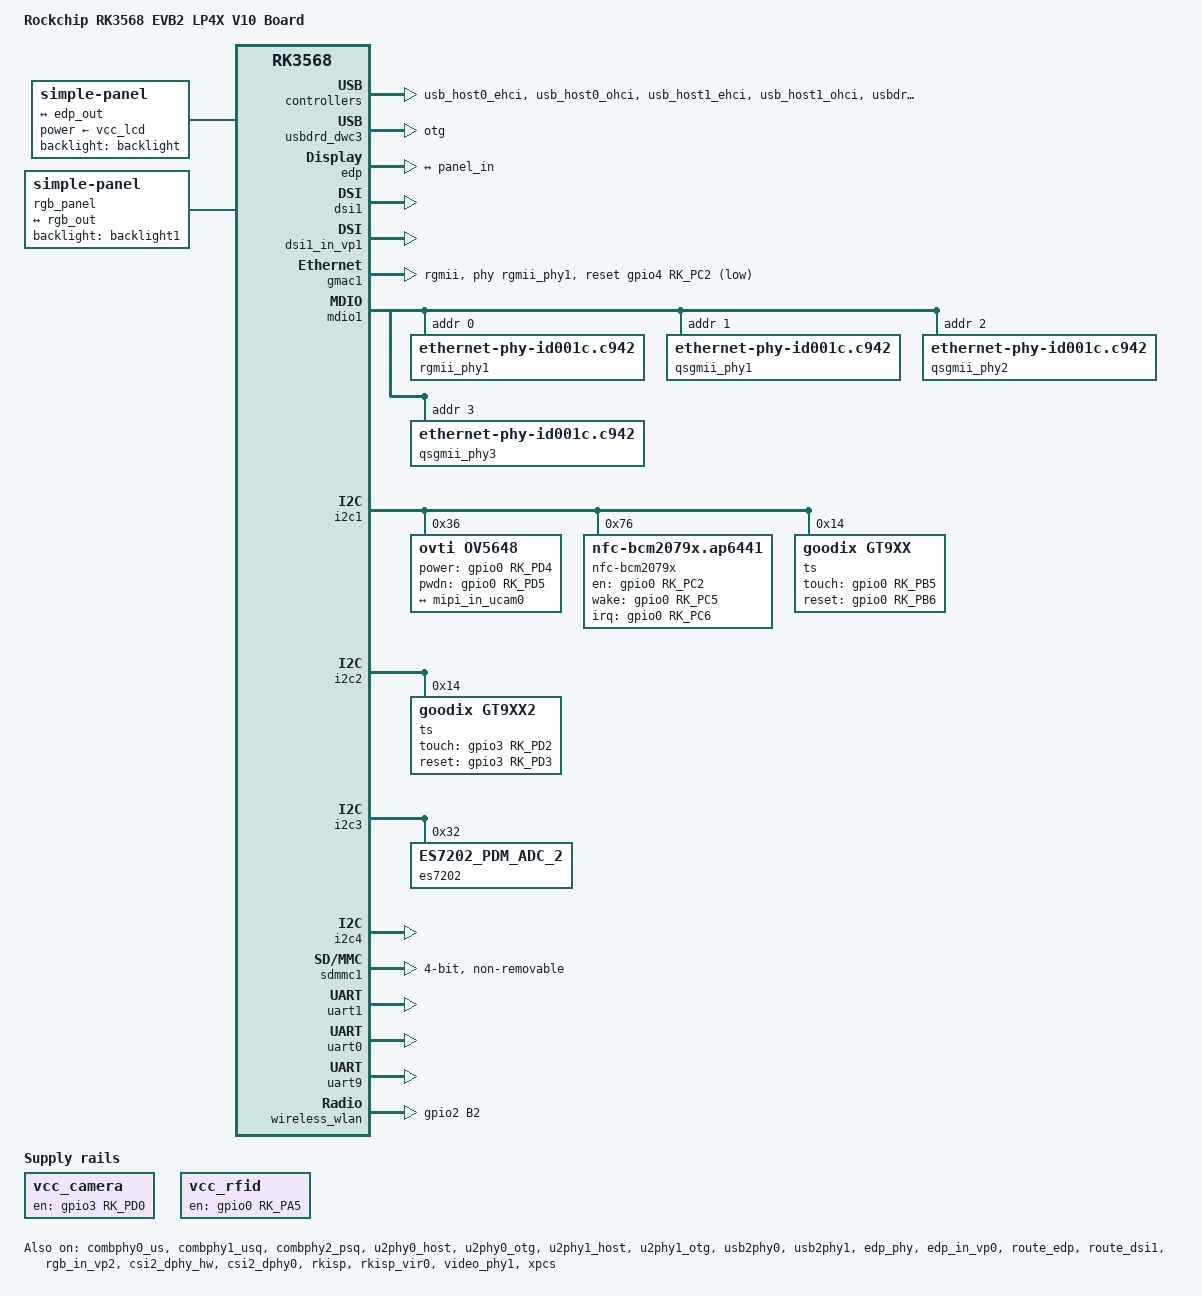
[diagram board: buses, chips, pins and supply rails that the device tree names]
// SPDX-License-Identifier: (GPL-2.0+ OR MIT)
/*
 * Copyright (c) 2020 Rockchip Electronics Co., Ltd.
 *
 */

/dts-v1/;

#include <dt-bindings/gpio/gpio.h>
#include <dt-bindings/pinctrl/rockchip.h>
#include "rk3568.dtsi"
#include "rk3568-evb-r98.dtsi"//rocky
#include "rk3568-android.dtsi"//rocky
//#include "lcd/lcd-dsi1-JJ101I008-A6-A5"
#include "lcd/lcd-dsi1-JL101-CC1001-27J.dtsi"

/ {
	model = "Rockchip RK3568 EVB2 LP4X V10 Board";
	compatible = "rockchip,rk3568-evb2-lp4x-v10", "rockchip,rk3568";
	panel: panel {
		compatible = "simple-panel";
		backlight = <&backlight>;
		power-supply = <&vcc_lcd>;
		//enable-gpios = <&gpio3 RK_PD4 GPIO_ACTIVE_HIGH>;
		//pinctrl-names = "default";
		//pinctrl-0 = <&lcd_edp_gpio>;
		
		reset-delay-ms = <60>;
		enable-delay-ms = <120>;
		prepare-delay-ms = <60>;
		unprepare-delay-ms = <60>;
		disable-delay-ms = <60>;
		
		//WF1713 panel  WF1413 panel
		//bpc = <8>;		
		//bus-format = <MEDIA_BUS_FMT_RGB888_1X24>;
		
		//R156X40-196-1201 //B140HAN03.9
		bpc = <6>;
		bus-format = <MEDIA_BUS_FMT_RGB666_1X18>;
		
		display-timings {
			native-mode = <&timing3>;
			
			timing0: timing0 {				
				clock-frequency = <138500000>;
				hactive = <1920>;
				vactive = <1080>;
				hfront-porch = <134>;
				hsync-len = <26>;
				hback-porch = <24>;
				vfront-porch = <16>;
				vsync-len = <6>;
				vback-porch = <14>;
				hsync-active = <0>;
				vsync-active = <0>;
				de-active = <0>;
				pixelclk-active = <0>;
			};
		
			//N61 ERWEIMA
			timing1: timing1 {
				clock-frequency = <135000000>;
				hactive = <1920>;
				vactive = <1080>;
				hfront-porch = <160>;
				hsync-len = <10>;
				hback-porch = <160>;
				vfront-porch = <21>;
				vsync-len = <10>;
				vback-porch = <21>;
				hsync-active = <0>;
				vsync-active = <0>;
				de-active = <0>;
				pixelclk-active = <0>;
			};	
				
			timing2: timing2 {																			
				clock-frequency = <148000000>;		
				hactive = <1920>;
				vactive = <1080>;										
				hback-porch = <50>;
				hfront-porch = <134>;
				vback-porch = <20>;
				vfront-porch = <20>;																
				hsync-len = <36>;
				vsync-len = <6>;								
				hsync-active = <0>;
				vsync-active = <0>;
				de-active = <0>;
				pixelclk-active = <0>;
				swap-rb = <0>;
				swap-rg = <0>;
				swap-gb = <0>;								
			};
			
			//NV140FHM-N4F=B140HAN03.9 
			timing3: timing3 {
				clock-frequency = <138000000>;
				hactive = <1920>;
				vactive = <1080>;
				hback-porch = <48>;
				hfront-porch = <210>;
				vback-porch = <20>;
				vfront-porch = <30>;																
				hsync-len = <52>;
				vsync-len = <10>;								
				hsync-active = <0>;
				vsync-active = <0>;

				de-active = <0>;
				pixelclk-active = <0>;
			};
		};

		ports {
			panel_in: endpoint {
				remote-endpoint = <&edp_out>;
			};
		};
	};
	
	rgb_panel: panel@0 {
		compatible = "simple-panel";
		backlight = <&backlight1>;
		//power-supply = <&vcc_lcd>;
		//enable-gpios = <&gpio3 RK_PD4 GPIO_ACTIVE_HIGH>;
		//pinctrl-names = "default";
		//pinctrl-0 = <&lcd_enable_3v3>;
		
		reset-delay-ms = <60>;
		enable-delay-ms = <60>;
		prepare-delay-ms = <60>;
		unprepare-delay-ms = <60>;
		disable-delay-ms = <60>;
		
		bpc = <8>;//8//6
		bus-format = <MEDIA_BUS_FMT_RGB888_1X24>;
		//bus-format = <MEDIA_BUS_FMT_RGB888_1X7X4_SPWG>;
		//bus-format = <MEDIA_BUS_FMT_RGB888_1X7X4_JEIDA>;
		//bus-format = <MEDIA_BUS_FMT_RGB666_1X18>;
		//bus-format = <MEDIA_BUS_FMT_BGR888_1X24>;
		//rockchip,data-mapping = "jeida";//jeida//vesa
		//rockchip,data-sync-bypass;
		
		display-timings {
			native-mode = <&rgb_timing0>;
			
			rgb_timing0: timing0 {
				
				clock-frequency = <51000000>;
				hactive = <1024>;
				vactive = <600>;
				hback-porch = <150>;
				hfront-porch = <160>;
				vback-porch = <12>;
				vfront-porch = <12>;
				hsync-len = <4>;
				vsync-len = <6>;
				
				hsync-active = <0>;
				vsync-active = <0>;
				de-active = <0>;
				pixelclk-active = <0>;
				/*swap-rb = <0>;
				swap-rg = <0>;
				swap-gb = <0>;*/
			};
			
		};

		ports {
			rgb_panel_in: endpoint {
				remote-endpoint = <&rgb_out>;
			};
		};
	};
	
	/*rk_headset: rk-headset {
		compatible = "rockchip_headset";
		headset_gpio = <&gpio4 RK_PC1 GPIO_ACTIVE_LOW>;
		pinctrl-names = "default";
		pinctrl-0 = <&hp_det>;
	};*/

	/*vcc2v5_sys: vcc2v5-ddr {
		compatible = "regulator-fixed";
		regulator-name = "vcc2v5-sys";
		regulator-always-on;
		regulator-boot-on;
		regulator-min-microvolt = <2500000>;
		regulator-max-microvolt = <2500000>;
		vin-supply = <&vcc3v3_sys>;
	};

	vcc3v3_pcie: gpio-regulator {
		compatible = "regulator-fixed";
		regulator-name = "vcc3v3_pcie";
		regulator-min-microvolt = <3300000>;
		regulator-max-microvolt = <3300000>;
		enable-active-high;
		gpio = <&gpio0 RK_PD4 GPIO_ACTIVE_HIGH>;
		startup-delay-us = <5000>;
		vin-supply = <&dc_12v>;
	};

	qsgmii_3v3: gpio-regulator {
		compatible = "regulator-gpio";
		regulator-name = "qsgmii_3v3";
		regulator-min-microvolt = <0100000>;
		regulator-max-microvolt = <3300000>;
		gpios = <&gpio0 RK_PB7 GPIO_ACTIVE_HIGH>;
		gpios-states = <0x1>;
		states = <0100000 0x0
			  3300000 0x1>;
	};

	vcc3v3_bu: vcc3v3-bu {
		compatible = "regulator-fixed";
		regulator-name = "vcc3v3_bu";
		regulator-always-on;
		regulator-boot-on;
		regulator-min-microvolt = <3300000>;
		regulator-max-microvolt = <3300000>;
		vin-supply = <&vcc5v0_sys>;
	};*/
	
	vcc_camera: vcc-camera-regulator {
		compatible = "regulator-fixed";
		gpio = <&gpio3 RK_PD0 GPIO_ACTIVE_HIGH>;
		pinctrl-names = "default";
		pinctrl-0 = <&camera_pwr>;
		regulator-name = "vcc_camera";
		enable-active-high;
		regulator-always-on;
		regulator-boot-on;
	};
	
	vcc_rfid: vcc-rfid-regulator {
		compatible = "regulator-fixed";
		gpio = <&gpio0 RK_PA5 GPIO_ACTIVE_HIGH>;
		pinctrl-names = "default";
		pinctrl-0 = <&rfid_pwr>;
		regulator-name = "vcc_rfid";
		enable-active-high;
		regulator-always-on;
		regulator-boot-on;
	};
	
	/*ext_cam_clk: external-camera-clock {
		compatible = "fixed-clock";
		clock-frequency = <24000000>;
		clock-output-names = "CLK_CAMERA_24MHZ";
		#clock-cells = <0>;
	};*/
};

&backlight {
		pwms = <&pwm4 0 100000 0>;
		enable-gpios = <&gpio0 RK_PC7 GPIO_ACTIVE_HIGH>;
		pinctrl-names = "default";
		pinctrl-0 = <&bl_en>;
};

/* add by rocky USB 3.0 OTG/SATA Combo PHY_0 */
&combphy0_us {
	status = "okay";
};

/* add by rocky USB 3.0 Host/SATA/QSGMII Combo PHY_1 */
&combphy1_usq {
	status = "okay";
};

&combphy2_psq {
	status = "okay";
};

//add by rocky usb2 phy0
&u2phy0_host {
	//phy-supply = <&vcc5v0_host>;
	status = "okay";
};

&u2phy0_otg {
	//vbus-supply = <&vcc5v0_otg>;
	status = "okay";
};

//add by rocky usb2.0 phy1
&u2phy1_host {
	//phy-supply = <&vcc5v0_host>;
	status = "okay";
};

&u2phy1_otg {
	//phy-supply = <&vcc5v0_host>;
	status = "okay";
};

/* add by rocky USB OTG/USB Host_1 USB 2.0 Comb PHY_0 */
&usb2phy0 {
	status = "okay";
};

/* add by rocky USB Host_1/USB Host_2 USB 2.0 Comb PHY_0 */
&usb2phy1 {
	status = "okay";
};

/* add by rocky USB 2.0 Host_2 EHCI controller for high speed */
&usb_host0_ehci {
	status = "okay";
};

/* add by rocky USB 2.0 Host_2 OHCI controller for full/low speed */
&usb_host0_ohci {
	status = "okay";
};

/* add by rocky USB 2.0 Host_3 EHCI controller for high speed */
&usb_host1_ehci {
	status = "okay";
};

/* add by rocky USB 2.0 Host_3 OHCI controller for full/low speed */
&usb_host1_ohci {
	status = "okay";
};

&usbdrd_dwc3 {
	dr_mode = "otg";
	extcon = <&usb2phy0>;
	status = "okay";
};

/* add by rocky USB 3.0 OTG controller */
&usbdrd30 {
	status = "okay";
};

&usbhost_dwc3 {
	status = "okay";
};

/* add by rocky USB 3.0 Host_1 controller */
&usbhost30 {
	status = "okay";
};

&edp {
	status = "okay";
	force-hpd;
	//hpd-gpios = <&gpio4 RK_PC4 GPIO_ACTIVE_HIGH>;

	ports {
		port@1 {
			reg = <1>;			
			#address-cells = <1>;
			#size-cells = <0>;

			edp_out: endpoint@0 {
				reg = <0>;
				remote-endpoint = <&panel_in>;
			};
		};
	};
};

&edp_phy {
	status = "okay";
};

&edp_in_vp1 {
	status = "disabled";
};

&edp_in_vp0 {
	status = "okay";
};

&route_edp {
	status = "okay";
	connect = <&vp0_out_edp>;
};

/*
 * video_phy0 needs to be enabled
 * when dsi0 is enabled
 */
&dsi0 {
	status = "disabled";
};

&route_dsi0 {
	status = "disabled";
	connect = <&vp1_out_dsi0>;
	logo,uboot = "logo_one.bmp";
};

&dsi0_in_vp0 {
	status = "disabled";
};

&dsi0_in_vp1 {
	status = "disabled";
};

&dsi0_panel {
	status = "disabled";
	backlight = <&backlight1>;
	//power-supply = <&vcc1v8_lcd0_n>;
	//power-supply = <&vcc_lcd>;
	enable-gpios = <&gpio3 RK_PC6 GPIO_ACTIVE_HIGH>;
	reset-gpios = <&gpio0 RK_PC4 GPIO_ACTIVE_LOW>;

	pinctrl-names = "default";
	//pinctrl-0 = <&lcd_enable_gpio>, <&lcd_rst_gpio>;
	pinctrl-0 = <&lcd_rst0_gpio>;
	
};

/*
 * video_phy1 needs to be enabled
 * when dsi1 is enabled
 */
&dsi1 {
	status = "okay";
};

&dsi1_in_vp0 {
	status = "disabled";
};

&dsi1_in_vp1 {
	status = "okay";
};

&dsi1_panel {
	status = "okay";
	//power-supply = <&vcc3v3_lcd1_n>;
	backlight = <&backlight1>;
	//enable-gpios = <&gpio3 RK_PC6 GPIO_ACTIVE_HIGH>;
	reset-gpios = <&gpio0 RK_PC4 GPIO_ACTIVE_LOW>;
	pinctrl-names = "default";
	//pinctrl-0 = <&lcd_enable_gpio>, <&lcd_rst_gpio>;
	pinctrl-0 = <&lcd_rst1_gpio>;

};

&route_dsi1 {
	status = "okay";
	connect = <&vp1_out_dsi1>;
	logo,uboot = "logo_one.bmp";
};

/**********RGB VP2**********/
&rgb {
	status = "disabled";
	rockchip,data-sync-bypass;
	pinctrl-names = "default";
	pinctrl-0 = <&lcdc_ctl>;
	ports {
		port@1 {
			reg = <1>;

			rgb_out: endpoint {
				remote-endpoint = <&rgb_panel_in>;
			};
		};
	};
};

&rgb_in_vp2 {
	status = "okay";
};

&route_rgb {
	status = "disabled";//vp2
	logo,uboot = "logo_one.bmp";
};

#if 0
&gmac0 {
	phy-supply = <&qsgmii_3v3>;
	phy-mode = "qsgmii";
	rockchip,xpcs = <&xpcs>;

	assigned-clocks = <&cru SCLK_GMAC0_RX_TX>;
	assigned-clock-parents = <&gmac0_xpcsclk>;

	power-domains = <&power RK3568_PD_PIPE>;
	phys = <&combphy1_usq PHY_TYPE_QSGMII>;
	phy-handle = <&qsgmii_phy0>;

	status = "okay";
};

&gmac1 {
	phy-supply = <&qsgmii_3v3>;
	phy-mode = "qsgmii";

	snps,reset-gpio = <&gpio3 RK_PD5 GPIO_ACTIVE_LOW>;
	snps,reset-active-low;
	/* Reset time is 20ms, 100ms for rtl8211f */
	snps,reset-delays-us = <0 20000 100000>;

	assigned-clocks = <&cru SCLK_GMAC1_RX_TX>;
	assigned-clock-parents = <&gmac1_xpcsclk>;

	pinctrl-names = "default";
	pinctrl-0 = <&gmac1m1_miim>;

	power-domains = <&power RK3568_PD_PIPE>;
	phy-handle = <&qsgmii_phy1>;

	status = "okay";
};
#endif

&gmac1 {
	phy-mode = "rgmii";
	clock_in_out = "output";//rk3566 provide
	//clock_in_out = "input";//phy provide

	snps,reset-gpio = <&gpio4 RK_PC2 GPIO_ACTIVE_LOW>;
	snps,reset-active-low;
	/* Reset time is 20ms, 100ms for rtl8211f */
	snps,reset-delays-us = <0 20000 100000>;

	assigned-clocks = <&cru SCLK_GMAC1_RX_TX>, <&cru SCLK_GMAC1>;
	assigned-clock-parents = <&cru SCLK_GMAC1_RGMII_SPEED>, <&cru CLK_MAC1_2TOP>;//rk3566 provide
	//assigned-clock-parents = <&cru SCLK_GMAC1_RGMII_SPEED>, <&cru CLK_MAC1_2TOP>, <&gmac1_clkin>;//phy provide
	assigned-clock-rates = <0>, <125000000>;

	pinctrl-names = "default";
	#if 1//1-rk3566 provide   0-phy provide
	pinctrl-0 = <&gmac1m1_miim
		     &gmac1m1_tx_bus2_level3
		     &gmac1m1_rx_bus2
		     &gmac1m1_rgmii_clk_level2
		     &gmac1m1_rgmii_bus_level3>;
	#else
	pinctrl-0 = <&gmac1m0_miim
		     &gmac1m0_tx_bus2_level3
		     &gmac1m0_rx_bus2
		     &gmac1m0_rgmii_clk_level2
		     &gmac1m0_rgmii_bus_level3
			 &gmac1m0_clkinout>;
	#endif
	
	tx_delay = <0x3a>;//rk3566 provide
	rx_delay = <0x21>;//rk3566 provide
	//tx_delay = <0x3b>;//phy provide
	//rx_delay = <0x1f>;//phy provide

	phy-handle = <&rgmii_phy1>;
	status = "okay";
};

/*&mdio0 {
	rgmii_phy0: phy@0 {
		compatible = "ethernet-phy-ieee802.3-c22";
		reg = <0x0>;
	};
};*/

&mdio1 {
	rgmii_phy1: phy@0 {
		compatible = "ethernet-phy-ieee802.3-c22";
		reg = <0x0>;
	};
};

/*
 * power-supply should switche to vcc3v3_lcd1_n
 * when mipi panel is connected to dsi1.
 */
/*&gt1x {
	power-supply = <&vcc3v3_lcd0_n>;
};*/

&i2c1 {
	status = "okay";
	ov5648: ov5648@36 {
		compatible = "ovti,ov5648";
		status = "okay";
		reg = <0x36>;
		//clocks = <&cru CLK_CAM0_OUT>;
		clocks = <&cru CLK_CIF_OUT>;//rocky
		clock-names = "xvclk";
		power-domains = <&power RK3568_PD_VI>;//rocky
		/* avdd-supply = <>; */
		/* dvdd-supply = <>; */
		/* dovdd-supply = <>; */
		/* reset-gpios = <>; */
		//dovdd-supply = <&vcc1v8_dvp>;
		power-gpios = <&gpio0 RK_PD4 GPIO_ACTIVE_HIGH>;
		//reset-gpios = <&gpio2 0 GPIO_ACTIVE_HIGH>;
        pwdn-gpios = <&gpio0 RK_PD5 GPIO_ACTIVE_HIGH>;
		pinctrl-names = "rockchip,camera_default", "rockchip,camera_sleep";
		//pinctrl-0 = <&cam_clkout0>;
		//pinctrl-1 = <&cam_sleep>;
		pinctrl-0 = <&cif_clk>;
		pinctrl-1 = <&cam_sleep_2>;
		rockchip,camera-module-index = <0>;
		rockchip,camera-module-facing = "front";
		rockchip,camera-module-name = "default";
		rockchip,camera-module-lens-name = "default";                

		port {
				ov5648_out: endpoint {
						remote-endpoint = <&mipi_in_ucam0>;
						//remote-endpoint = <&mipi_in_ucam1>;
						data-lanes = <1 2>;
				};
		};
    };
	
	nfc-bcm2079x@76 {
		compatible = "nfc-bcm2079x.ap6441";
		reg = <0x76>;
		//pw_gpio = <&gpio7 16 GPIO_ACTIVE_HIGH>;
		en_gpio = <&gpio0 RK_PC2 GPIO_ACTIVE_HIGH>;
		wake_gpio = <&gpio0 RK_PC5 GPIO_ACTIVE_HIGH>;
		irq_gpio = <&gpio0 RK_PC6 IRQ_TYPE_EDGE_RISING>;
		status = "okay";
    };
	
	ts@14 {
		compatible = "goodix,gt9xx";
		reg = <0x14>;
		pinctrl-names = "default";
		pinctrl-0 = <&touch_gpio>;
		touch-gpio = <&gpio0 RK_PB5 IRQ_TYPE_LEVEL_LOW>;
		reset-gpio = <&gpio0 RK_PB6 GPIO_ACTIVE_HIGH>;
		//power-gpio = <&gpio0 GPIO_C5 GPIO_ACTIVE_LOW>;
		max-x = <1280>;
		max-y = <800>;
		//tp-size = <101>;
		tp-size = <89>;
		//tp-supply = <&pmic_vcc_tp_33>;
		status = "okay";
    };
	
	sensor@18 {
		status = "disabled";
		compatible = "bma2xx_acc";
		reg = <0x18>;
		type = <SENSOR_TYPE_ACCEL>;
		irq_enable = <0>;
		//pinctrl-names = "default";
		//pinctrl-0 = <&sensor_gpio>;
		//irq-gpio = <&gpio4 RK_PA6 IRQ_TYPE_EDGE_RISING>;
		poll_delay_ms = <10>;
		power-off-in-suspend = <1>;
		layout = <1>;
	};
	
	kxtj: kxtj2@0e {
		status = "disabled";
		compatible = "gs_kxtj9";
		reg = <0x0e>;
		type = <SENSOR_TYPE_ACCEL>;
		irq_enable = <0>;
		//pinctrl-names = "default";
		//pinctrl-0 = <&sensor_gpio>;
		//irq-gpio = <&gpio4 RK_PA6 IRQ_TYPE_EDGE_RISING>;
		poll_delay_ms = <30>;
		power-off-in-suspend = <1>;
		layout = <1>;
	};
	
};

&i2c2 {
	status = "okay";
	pinctrl-names = "default";
	pinctrl-0 = <&i2c2m1_xfer>;
	ts@14 {
		compatible = "goodix,gt9xx2";
		reg = <0x14>;
		pinctrl-names = "default";
		pinctrl-0 = <&touch2_gpio>;
		touch-gpio = <&gpio3 RK_PD2 IRQ_TYPE_LEVEL_LOW>;
		reset-gpio = <&gpio3 RK_PD3 GPIO_ACTIVE_HIGH>;
		//power-gpio = <&gpio0 GPIO_C5 GPIO_ACTIVE_LOW>;
		max-x = <1280>;
		max-y = <800>;
		tp-size = <101>;
		//tp-size = <89>;
		//tp-supply = <&pmic_vcc_tp_33>;
		status = "okay";
    };
};

&csi2_dphy_hw {
	status = "okay";
};

&csi2_dphy0 {
	status = "okay";

	ports {
		#address-cells = <1>;
		#size-cells = <0>;
		port@0 {
			reg = <0>;
			#address-cells = <1>;
			#size-cells = <0>;
			
			mipi_in_ucam0: endpoint@0 {
				reg = <0>;
				remote-endpoint = <&ov5648_out>;
				data-lanes = <1 2>;
			};
		};
		port@1 {
			reg = <1>;
			#address-cells = <1>;
			#size-cells = <0>;

			csidphy0_out: endpoint@0 {
				reg = <0>;
				remote-endpoint = <&isp0_in>;
			};
		};
	};
};

&rkisp {
	status = "okay";
};

&rkisp_mmu {
	status = "okay";
};

&rkisp_vir0 {
	status = "okay";

	port {
		#address-cells = <1>;
		#size-cells = <0>;

		isp0_in: endpoint@0 {
			reg = <0>;
			remote-endpoint = <&csidphy0_out>;
		};
	};
};

&i2c3 {
	status = "okay";

	/*lt6911uxc: lt6911uxc@2b {
		status = "okay";
		reg = <0x2b>;
		compatible = "lontium,lt6911uxc";
		clocks = <&ext_cam_clk>;
		clock-names = "xvclk";
		interrupt-parent = <&gpio4>;
		interrupts = <16 IRQ_TYPE_LEVEL_LOW>;
		power-gpios = <&gpio0 29 GPIO_ACTIVE_HIGH>;
		reset-gpios = <&gpio4 26 GPIO_ACTIVE_LOW>;
		plugin-det-gpios = <&gpio0 30 GPIO_ACTIVE_LOW>;
		hpd-ctl-gpios = <&gpio3 27 GPIO_ACTIVE_LOW>;
		rockchip,camera-module-index = <0>;
		rockchip,camera-module-facing = "back";
		rockchip,camera-module-name = "LT6911UXC";
		rockchip,camera-module-lens-name = "NC";

		port {
			lt6911uxc_out: endpoint {
				remote-endpoint = <&hdmi_to_mipi_in>;
				data-lanes = <1 2 3 4>;
			};
		};
	};*/
	
	es7202: es7202@32 {
		status = "okay";
		#sound-dai-cells = <0>;
		compatible = "ES7202_PDM_ADC_2";
		reg = <0x32>;
	};
	
};

&i2c4 {
	status = "okay";

	/*gs_mxc6655xa: gs_mxc6655xa@15 {
		status = "okay";
		compatible = "gs_mxc6655xa";
		pinctrl-names = "default";
		pinctrl-0 = <&mxc6655xa_irq_gpio>;
		reg = <0x15>;
		irq-gpio = <&gpio3 RK_PD7 IRQ_TYPE_LEVEL_LOW>;
		irq_enable = <0>;
		poll_delay_ms = <30>;
		type = <SENSOR_TYPE_ACCEL>;
		power-off-in-suspend = <1>;
		layout = <1>;
	};*/
};

&i2c5 {
	status = "disabled";
};

&mdio1 {
	qsgmii_phy0: phy@0 {
		compatible = "ethernet-phy-id001c.c942", "ethernet-phy-ieee802.3-c22";
		reg = <0x0>;
	};
	qsgmii_phy1: phy@1 {
		compatible = "ethernet-phy-id001c.c942", "ethernet-phy-ieee802.3-c22";
		reg = <0x1>;
	};
	qsgmii_phy2: phy@2 {
		compatible = "ethernet-phy-id001c.c942", "ethernet-phy-ieee802.3-c22";
		reg = <0x2>;
	};
	qsgmii_phy3: phy@3 {
		compatible = "ethernet-phy-id001c.c942", "ethernet-phy-ieee802.3-c22";
		reg = <0x3>;
	};
};

&video_phy0 {
	status = "disabled";
};

&video_phy1 {
	status = "okay";
};

/*&pcie2x1 {
	reset-gpios = <&gpio1 RK_PB2 GPIO_ACTIVE_HIGH>;
	vpcie3v3-supply = <&vcc3v3_pcie>;
	status = "okay";
};

&pcie30phy {
	status = "okay";
};

&pcie3x2 {
	reset-gpios = <&gpio0 RK_PC6 GPIO_ACTIVE_HIGH>;
	vpcie3v3-supply = <&vcc3v3_pcie>;
	status = "okay";
};*/

&pinctrl {
	/*headphone {
		hp_det: hp-det {
			rockchip,pins = <4 RK_PC1 RK_FUNC_GPIO &pcfg_pull_down>;
		};
	};

	mxc6655xa {
		mxc6655xa_irq_gpio: mxc6655xa_irq_gpio {
			rockchip,pins = <3 RK_PD7 RK_FUNC_GPIO &pcfg_pull_none>;
		};
	};

	sii902x {
		sii902x_hdmi_int: sii902x-hdmi-int {
			rockchip,pins = <3 RK_PA0 RK_FUNC_GPIO &pcfg_pull_up>;
		};
	};*/

	sdio-pwrseq {
		/*wifi_enable_h: wifi-enable-h {
			rockchip,pins = <2 RK_PB1 RK_FUNC_GPIO &pcfg_pull_none>;
		};*/

		wifi_32k: wifi-32k {
			rockchip,pins = <2 RK_PC6 1 &pcfg_pull_none>;
		};
	};

	wireless-wlan {
		wifi_host_wake_irq: wifi-host-wake-irq {
			rockchip,pins = <2 RK_PB2 RK_FUNC_GPIO &pcfg_pull_down>;
		};
	};

	wireless-bluetooth {
		uart1_gpios: uart1-gpios {
			rockchip,pins = <2 RK_PB5 RK_FUNC_GPIO &pcfg_pull_none>;
		};
	};
	bl_ctrl {
		bl_en: bl-en {
			rockchip,pins = <0 RK_PC7 RK_FUNC_GPIO &pcfg_pull_none>;
		};
	};
	
	lcd {
		lcd_rst0_gpio: lcd-rst0-gpio {
			rockchip,pins = <4 RK_PC4 RK_FUNC_GPIO &pcfg_pull_none>;
		};

		lcd_rst1_gpio: lcd-rst1-gpio {
			rockchip,pins = <0 RK_PC4 RK_FUNC_GPIO &pcfg_pull_none>;
		};
		
		lcd_edp_gpio: lcd-edp-gpio {
			rockchip,pins = <3 RK_PD4 RK_FUNC_GPIO &pcfg_pull_none>;
		};
	};
	usb {
		camera_pwr: camera-pwr {
			rockchip,pins =
				<3 RK_PD0 RK_FUNC_GPIO &pcfg_pull_none>;
		};
		rfid_pwr: rfid-pwr {
			rockchip,pins =
				<0 RK_PA5 RK_FUNC_GPIO &pcfg_pull_none>;
		};
	};
	
	cam {
		cam_clkout0: cam-clkout0 {
			rockchip,pins =
				/* cam_clkout0 */
				<4 RK_PA7 1 &pcfg_pull_none>;
		};

		cam_sleep: cam-sleep {
			rockchip,pins =
				/* cam_sleep */
				<4 RK_PA7 RK_FUNC_GPIO &pcfg_pull_none>;
		};
		
		cam_sleep_2: cam-sleep-2 {
			rockchip,pins =
				/* cam_sleep */
				<4 RK_PC0 RK_FUNC_GPIO &pcfg_pull_none>;
		};
	};
};

/*&pmu_io_domains {
	vccio6-supply = <&vcc_3v3>;
};*/

&pwm3 {
	status = "disabled";

	compatible = "rockchip,remotectl-pwm";
	remote_pwm_id = <3>;
	handle_cpu_id = <1>;
	remote_support_psci = <0>;
	pinctrl-names = "default";
	pinctrl-0 = <&pwm3_pins>;

	ir_key1 {
		rockchip,usercode = <0x4040>;
		rockchip,key_table =
			<0xf2	KEY_REPLY>,
			<0xba	KEY_BACK>,
			<0xf4	KEY_UP>,
			<0xf1	KEY_DOWN>,
			<0xef	KEY_LEFT>,
			<0xee	KEY_RIGHT>,
			<0xbd	KEY_HOME>,
			<0xea	KEY_VOLUMEUP>,
			<0xe3	KEY_VOLUMEDOWN>,
			<0xe2	KEY_SEARCH>,
			<0xb2	KEY_POWER>,
			<0xbc	KEY_MUTE>,
			<0xec	KEY_MENU>,
			<0xbf	0x190>,
			<0xe0	0x191>,
			<0xe1	0x192>,
			<0xe9	183>,
			<0xe6	248>,
			<0xe8	185>,
			<0xe7	186>,
			<0xf0	388>,
			<0xbe	0x175>;
	};

	ir_key2 {
		rockchip,usercode = <0xff00>;
		rockchip,key_table =
			<0xf9	KEY_HOME>,
			<0xbf	KEY_BACK>,
			<0xfb	KEY_MENU>,
			<0xaa	KEY_REPLY>,
			<0xb9	KEY_UP>,
			<0xe9	KEY_DOWN>,
			<0xb8	KEY_LEFT>,
			<0xea	KEY_RIGHT>,
			<0xeb	KEY_VOLUMEDOWN>,
			<0xef	KEY_VOLUMEUP>,
			<0xf7	KEY_MUTE>,
			<0xe7	KEY_POWER>,
			<0xfc	KEY_POWER>,
			<0xa9	KEY_VOLUMEDOWN>,
			<0xa8	KEY_VOLUMEDOWN>,
			<0xe0	KEY_VOLUMEDOWN>,
			<0xa5	KEY_VOLUMEDOWN>,
			<0xab	183>,
			<0xb7	388>,
			<0xe8	388>,
			<0xf8	184>,
			<0xaf	185>,
			<0xed	KEY_VOLUMEDOWN>,
			<0xee	186>,
			<0xb3	KEY_VOLUMEDOWN>,
			<0xf1	KEY_VOLUMEDOWN>,
			<0xf2	KEY_VOLUMEDOWN>,
			<0xf3	KEY_SEARCH>,
			<0xb4	KEY_VOLUMEDOWN>,
			<0xbe	KEY_SEARCH>;
	};

	ir_key3 {
		rockchip,usercode = <0x1dcc>;
		rockchip,key_table =
			<0xee	KEY_REPLY>,
			<0xf0	KEY_BACK>,
			<0xf8	KEY_UP>,
			<0xbb	KEY_DOWN>,
			<0xef	KEY_LEFT>,
			<0xed	KEY_RIGHT>,
			<0xfc	KEY_HOME>,
			<0xf1	KEY_VOLUMEUP>,
			<0xfd	KEY_VOLUMEDOWN>,
			<0xb7	KEY_SEARCH>,
			<0xff	KEY_POWER>,
			<0xf3	KEY_MUTE>,
			<0xbf	KEY_MENU>,
			<0xf9	0x191>,
			<0xf5	0x192>,
			<0xb3	388>,
			<0xbe	KEY_1>,
			<0xba	KEY_2>,
			<0xb2	KEY_3>,
			<0xbd	KEY_4>,
			<0xf9	KEY_5>,
			<0xb1	KEY_6>,
			<0xfc	KEY_7>,
			<0xf8	KEY_8>,
			<0xb0	KEY_9>,
			<0xb6	KEY_0>,
			<0xb5	KEY_BACKSPACE>;
	};
};

&pwm7 {
	status = "disabled";
};

&sdmmc1 {
	max-frequency = <150000000>;
	supports-sdio;
	bus-width = <4>;
	disable-wp;
	cap-sd-highspeed;
	cap-sdio-irq;
	keep-power-in-suspend;
	mmc-pwrseq = <&sdio_pwrseq>;
	non-removable;
	pinctrl-names = "default";
	pinctrl-0 = <&sdmmc1_bus4 &sdmmc1_cmd &sdmmc1_clk>;
	sd-uhs-sdr104;
	status = "okay";
};

&sdmmc2 {
	status = "disabled";
};

&uart1 {
	status = "okay";
	pinctrl-names = "default";
	pinctrl-0 = <&uart1m0_xfer &uart1m0_ctsn>;
};

&uart0 {
	status = "okay";
	pinctrl-names = "default";
	pinctrl-0 = <&uart0_xfer>;
};

&uart9 {
	status = "okay";
	pinctrl-names = "default";
	pinctrl-0 = <&uart9m1_xfer>;
};

/*&vcc3v3_lcd0_n {
	gpio = <&gpio0 RK_PC7 GPIO_ACTIVE_HIGH>;
	enable-active-high;
};

&vcc3v3_lcd1_n {
	gpio = <&gpio0 RK_PC5 GPIO_ACTIVE_HIGH>;
	enable-active-high;
};*/

&wireless_wlan {
	pinctrl-names = "default";
	pinctrl-0 = <&wifi_host_wake_irq>;
	WIFI,host_wake_irq = <&gpio2 RK_PB2 GPIO_ACTIVE_HIGH>;
};

&xpcs {
	status = "okay";
};

/*&csi2_dphy_hw {
	status = "okay";
};

&csi2_dphy0 {
	status = "okay";

	ports {
		#address-cells = <1>;
		#size-cells = <0>;
		port@0 {
			reg = <0>;
			#address-cells = <1>;
			#size-cells = <0>;

			hdmi_to_mipi_in: endpoint@1 {
				reg = <1>;
				remote-endpoint = <&lt6911uxc_out>;
				data-lanes = <1 2 3 4>;
			};
		};

		port@1 {
			reg = <1>;
			#address-cells = <1>;
			#size-cells = <0>;

			csidphy_out: endpoint@1 {
				reg = <1>;
				remote-endpoint = <&mipi_csi2_input>;
				data-lanes = <1 2 3 4>;
			};
		};
	};
};

&mipi_csi2 {
	status = "okay";

	ports {
		#address-cells = <1>;
		#size-cells = <0>;

		port@0 {
			reg = <0>;
			#address-cells = <1>;
			#size-cells = <0>;

			mipi_csi2_input: endpoint@1 {
				reg = <1>;
				remote-endpoint = <&csidphy_out>;
				data-lanes = <1 2 3 4>;
			};
		};

		port@1 {
			reg = <1>;
			#address-cells = <1>;
			#size-cells = <0>;

			mipi_csi2_output: endpoint@0 {
				reg = <0>;
				remote-endpoint = <&cif_mipi_in>;
				data-lanes = <1 2 3 4>;
			};
		};
	};
};

&rkcif {
	status = "okay";
};

&rkcif_mipi_lvds {
	status = "okay";

	port {
		cif_mipi_in: endpoint {
			remote-endpoint = <&mipi_csi2_output>;
			data-lanes = <1 2 3 4>;
		};
	};
};

&rkcif_mmu {
	status = "okay";
};*/

/*============note===========*/

/*
8821CS AP6255 AP6256:vcc_1v8
8723DS AP6212:vcc_3v3
*/
&pmu_io_domains {
	vccio4-supply = <&vcc_3v3>;
};
/*============note===========*/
